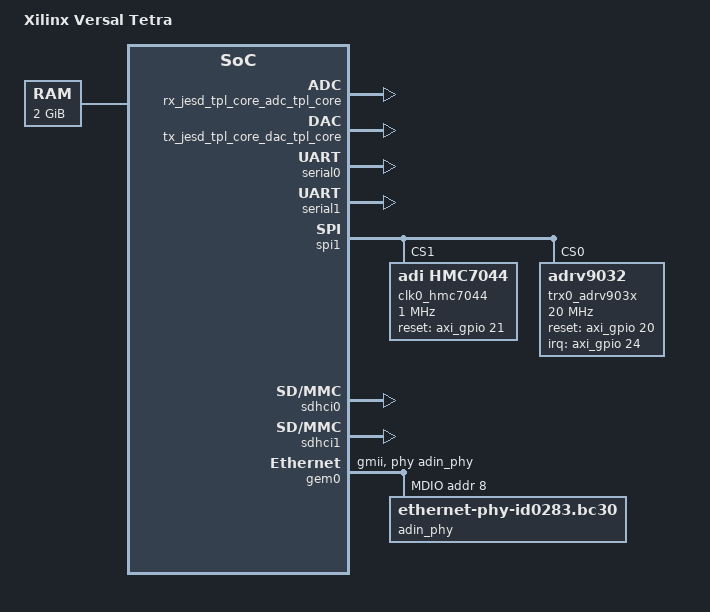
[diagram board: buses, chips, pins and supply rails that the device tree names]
// SPDX-License-Identifier: GPL-2.0
/*
 * dts file for Xilinx Versal Tetra
 *
 * (C) Copyright 2026, Analog Devices Inc.
 */

#include "versal.dtsi"
#include "versal-clk.dtsi"
#include <dt-bindings/interrupt-controller/irq.h>
#include <dt-bindings/iio/adc/adi,adrv903x.h>
#include <dt-bindings/iio/frequency/hmc7044.h>

/* RX path */
#define ADRV903X_RX_LANERATE_KHZ 16220160
#define ADRV903X_RX_LINK_CLK	245760000

/* TX path */
#define ADRV903X_TX_LANERATE_KHZ 16220160
#define ADRV903X_TX_LINK_CLK	245760000

#define ADRV903X_RX_DEVICE_CLK  245760000

/ {
	compatible = "xlnx,versal-tetra", "xlnx,versal";
	model = "Xilinx Versal Tetra";

	memory: memory@0 {
		device_type = "memory";
		reg = <0 0 0 0x80000000>;  /* 2GB */
	};

	chosen {
		bootargs = "console=ttyAMA1,115200 earlycon=pl011,mmio32,0xFF010000,115200n8 root=/dev/mmcblk0p2 rw rootfstype=ext4 rootwait";
		stdout-path = "serial1:115200";
	};

	aliases {
		serial0 = &serial0;
		serial1 = &serial1;
		spi1 = &spi1;
		mmc0 = &sdhci0;
		mmc1 = &sdhci1;
		ethernet0 = &gem0;
	};
};

&serial0 {
	status = "okay";
};

&serial1 {
	status = "okay";
};

&spi1 {
	is-decoded-cs = <0>;
	num-cs = <2>;
	status = "okay";
};

/* Enable SD card controllers */
&sdhci0 {
	status = "okay";
	xlnx,mio-bank = <0>;
	no-1-8-v;
};

&sdhci1 {
	status = "okay";
	xlnx,mio-bank = <1>;
	no-1-8-v;
};

/* PS GEM0 Ethernet — GMII to ADIN1320 PHY */
&gem0 {
	status = "okay";
	phy-mode = "gmii";
	phy-handle = <&adin_phy>;
	local-mac-address = [00 0a 35 7b 3e 11];

	mdio {
		#address-cells = <1>;
		#size-cells = <0>;

		adin_phy: ethernet-phy@8 {
			reg = <8>;
			compatible = "ethernet-phy-id0283.bc30";
		};
	};
};

&gem1 {
	status = "disabled";
};

&spi1 {
	status = "okay";

	clk0_hmc7044: hmc7044@1 {
		#address-cells = <1>;
		#size-cells = <0>;
		#clock-cells = <1>;
		compatible = "adi,hmc7044";
		reg = <1>;
		spi-max-frequency = <1000000>;

		jesd204-device;
		#jesd204-cells = <2>;
		jesd204-sysref-provider;

		adi,jesd204-max-sysref-frequency-hz = <2000000>; /* 2 MHz */

		adi,pll1-clkin-frequencies = <0 0 0 0>;
		adi,vcxo-frequency = <122880000>;

		adi,pll1-ref-prio-ctrl = <0xE4>; /* prefer CLKIN0 -> CLKIN1 -> CLKIN2 -> CLKIN3 */
		adi,pll1-ref-autorevert-enable;

		adi,pll1-loop-bandwidth-hz = <200>;
		adi,pfd1-maximum-limit-frequency-hz = <30720000>;
		adi,pll1-charge-pump-current-ua = <1920>;

		adi,pll2-output-frequency = <2949120000>;

		adi,sysref-timer-divider = <1024>;
		adi,pulse-generator-mode = <HMC7044_PULSE_GEN_8_PULSE>;

		adi,clkin0-buffer-mode  = <0x06>;
		adi,clkin1-buffer-mode  = <0x06>;
		adi,oscin-buffer-mode = <0x15>;

		adi,gpi-controls = <0x00 0x00 0x00 0x00>;
		adi,gpo-controls = <0x37 0x33 0x00 0x00>;

		clock-output-names =
		"hmc7044_out0", "hmc7044_out1", "hmc7044_out2",
		"hmc7044_out3", "hmc7044_out4", "hmc7044_out5",
		"hmc7044_out6", "hmc7044_out7", "hmc7044_out8",
		"hmc7044_out9", "hmc7044_out10", "hmc7044_out11",
		"hmc7044_out12", "hmc7044_out13";

		hmc7044_c0: channel@0 {
			reg = <0>;
			adi,extended-name = "DEV_CLK";
			adi,divider = <6>;
			adi,driver-mode = <HMC7044_DRIVER_MODE_LVDS>;
		};
		hmc7044_c1: channel@1 {
			reg = <1>;
			adi,extended-name = "DEV_SYSREF";
			adi,divider = <3072>;
			adi,driver-mode = <HMC7044_DRIVER_MODE_LVPECL>;
			adi,startup-mode-dynamic-enable;
			adi,high-performance-mode-disable;
			adi,jesd204-sysref-chan;
		};
		hmc7044_c6: channel@6 {
			reg = <6>;
			adi,extended-name = "FPGA_CORE_REFCLK";
			adi,divider = <12>;
			adi,driver-mode = <HMC7044_DRIVER_MODE_LVDS>;
		};
		hmc7044_c7: channel@7 {
			reg = <7>;
			adi,extended-name = "FPGA_CORE_SYSREF";
			adi,divider = <3072>;
			adi,driver-mode = <HMC7044_DRIVER_MODE_LVDS>;
		};
		hmc7044_c12: channel@12 {
			reg = <12>;
			adi,extended-name = "FPGA_REFCLK";
			adi,divider = <12>;
			adi,driver-mode = <HMC7044_DRIVER_MODE_LVDS>;
		};
	};

	trx0_adrv903x: adrv903x-phy@0 {
		compatible = "adrv9032";
		reg = <0>;

		#address-cells = <1>;
		#size-cells = <0>;

		/* SPI Setup */
		spi-max-frequency = <20000000>;

		interrupt-parent = <&axi_gpio>;
		interrupts = <24 IRQ_TYPE_EDGE_RISING>; /* adrv903x_gpint1 - CHECK */

		/* Clocks */
		clocks = <&clk0_hmc7044 0>;

		clock-names = "dev_clk";

		clock-output-names = "rx_sampl_clk", "tx_sampl_clk";
		#clock-cells = <1>;

		jesd204-device;
		#jesd204-cells = <2>;
		jesd204-top-device = <0>; /* This is the TOP device */
		jesd204-link-ids = <DEFRAMER0_LINK_TX FRAMER0_LINK_RX>;
		jesd204-ignore-errors;

		jesd204-inputs =
		 	<&axi_jesd_rx_rx_axi 0 FRAMER0_LINK_RX>,
			<&axi_jesd_tx_tx_axi 0 DEFRAMER0_LINK_TX>;

		adi,device-config-name = "ADRV9030_DeviceProfileTest_lanemap.bin";
		adi,arm-firmware-name = "ADRV9030_FW.bin";
		adi,stream-firmware-name = "ADRV9030_stream_image_lanemap.bin";
		adi,rx-gaintable-names = "ADRV9030_RxGainTable.csv";
		adi,rx-gaintable-channel-masks = <0x0F>;
		//adi,tx-attntable-names = "ADRV903X_TxAttenTable.csv";
		//adi,tx-attntable-channel-masks = <0x0F>;
	};
};

/* PL AXI bus */
/ {
	amba_pl: amba_pl {
		#address-cells = <2>;
		#size-cells = <2>;
		compatible = "simple-bus";
		ranges;

		axi_gpio: gpio@a4000000 {
			#gpio-cells = <2>;
			#interrupt-cells = <2>;
			clock-names = "s_axi_aclk";
			clocks = <&versal_clk 65>;
			compatible = "xlnx,axi-gpio-2.0", "xlnx,xps-gpio-1.00.a";
			gpio-controller ;
			interrupt-controller ;
			interrupt-names = "ip2intc_irpt";
			interrupt-parent = <&gic>;
			interrupts = <0 84 IRQ_TYPE_LEVEL_HIGH>;
			reg = <0x0 0xa4000000 0x0 0x1000>;
			xlnx,all-inputs = <0x0>;
			xlnx,all-inputs-2 = <0x0>;
			xlnx,all-outputs = <0x0>;
			xlnx,all-outputs-2 = <0x0>;
			xlnx,dout-default = <0x00000000>;
			xlnx,dout-default-2 = <0x00000000>;
			xlnx,gpio-width = <0x20>;
			xlnx,gpio2-width = <0x20>;
			xlnx,interrupt-present = <0x1>;
			xlnx,is-dual = <0x1>;
			xlnx,tri-default = <0xFFFFFFFF>;
			xlnx,tri-default-2 = <0xFFFFFFFF>;
		};

		axi_jesd_rx_dma: axi_dmac@bc420000 {
			compatible = "adi,axi-dmac-1.00.a";
			reg = <0x0 0xbc420000 0x0 0x1000>;
			#dma-cells = <1>;
			#clock-cells = <0>;
			interrupt-names = "irq";
			interrupt-parent = <&gic>;
			clocks = <&versal_clk PMC_PL1_REF>;
			interrupts = <0 97 IRQ_TYPE_LEVEL_HIGH>;

			adi,channels {
				#size-cells = <0>;
				#address-cells = <1>;

				dma-channel@0 {
					reg = <0>;
					adi,source-bus-type = <2>;
					adi,destination-bus-type = <0>;
				};
			};
		};

		axi_jesd_tx_dma: axi_dmac@bc430000 {
			compatible = "adi,axi-dmac-1.00.a";
			reg = <0x0 0xbc430000 0x0 0x1000>;
			#dma-cells = <1>;
			#clock-cells = <0>;
			clocks = <&versal_clk PMC_PL1_REF>;
			interrupt-names = "irq";
			interrupt-parent = <&gic>;
			interrupts = <0 96 IRQ_TYPE_LEVEL_HIGH>;

			adi,channels {
				#size-cells = <0>;
				#address-cells = <1>;

				dma-channel@0 {
					reg = <0>;
					adi,source-bus-type = <0>;
					adi,destination-bus-type = <1>;
				};
			};
		};

		axi_jesd_tx_tx_axi: axi_jesd204_tx@a4b90000 {
			compatible = "adi,axi-jesd204-tx-1.0";
			reg = <0x0 0xa4b90000 0x0 0x4000>;

			interrupt-names = "irq";
			interrupt-parent = <&gic>;
			interrupts = <0 94 IRQ_TYPE_LEVEL_HIGH>;

			clock-names = "s_axi_aclk", "device_clk", "link_clk", "lane_clk";
			clocks = <&versal_clk PMC_PL0_REF>, <&tx_fixed_link_clk>, <&tx_fixed_link_clk>, <&tx_fixed_lanerate>;

			#clock-cells = <0>;
			clock-output-names = "jesd_tx_lane_clk";

			jesd204-device;
			#jesd204-cells = <2>;
			jesd204-inputs = <&clk0_hmc7044 0 DEFRAMER0_LINK_TX>;

			reset-done-gpios = <&axi_gpio 33 0>;
			pll-datapath-reset-gpios = <&axi_gpio 37 0>;
			datapath-reset-gpios = <&axi_gpio 39 0>;
		};

		axi_jesd_rx_rx_axi: axi_jesd204_rx@a4a90000 {
			compatible = "adi,axi-jesd204-rx-1.0";
			reg = <0x0 0xa4a90000 0x0 0x4000>;

			interrupt-names = "irq";
			interrupt-parent = <&gic>;
			interrupts = <0 95 IRQ_TYPE_LEVEL_HIGH>;

			clock-names = "s_axi_aclk", "device_clk", "link_clk", "lane_clk";
			clocks = <&versal_clk PMC_PL0_REF>, <&rx_fixed_device_clk>, <&rx_fixed_link_clk>, <&rx_fixed_lanerate>;

			#clock-cells = <0>;
			clock-output-names = "jesd_rx_lane_clk";

			jesd204-device;
			#jesd204-cells = <2>;
			jesd204-inputs = <&clk0_hmc7044 0 FRAMER0_LINK_RX>;

			reset-done-gpios = <&axi_gpio 32 0>;
			pll-datapath-reset-gpios = <&axi_gpio 36 0>;
			datapath-reset-gpios = <&axi_gpio 38 0>;
		};

		axi_sysid_0: axi_sysid@a5000000 {
			compatible = "adi,axi-sysid-1.00.a";
			reg = <0x0 0xa5000000 0x0 0x10000>;
		};

		clocks {
			rx_fixed_lanerate: clock@0 {
				#clock-cells = <0>;
				compatible = "fixed-clock";
				clock-frequency = <ADRV903X_RX_LANERATE_KHZ>;
				clock-output-names = "rx_lane_clk";
			};

			tx_fixed_lanerate: clock@1 {
				#clock-cells = <0>;
				compatible = "fixed-clock";
				clock-frequency = <ADRV903X_TX_LANERATE_KHZ>;
				clock-output-names = "tx_lane_clk";
			};

			rx_fixed_link_clk: clock@2 {
				#clock-cells = <0>;
				compatible = "fixed-clock";
				clock-frequency = <ADRV903X_RX_LINK_CLK>;
				clock-output-names = "rx_link_clk";
			};

			tx_fixed_link_clk: clock@3 {
				#clock-cells = <0>;
				compatible = "fixed-clock";
				clock-frequency = <ADRV903X_TX_LINK_CLK>;
				clock-output-names = "tx_link_clk";
			};

			rx_fixed_device_clk: clock@4 {
				#clock-cells = <0>;
				compatible = "fixed-clock";
				clock-frequency = <ADRV903X_RX_DEVICE_CLK>;
				clock-output-names = "rx_device_clk";
			};
		};


		jesd_tx_data_offload_i_data_offload: data_offload@bc440000 {
			compatible = "adi,axi-data-offload-1.0.a";
			reg = <0x0 0xbc440000 0x0 0x10000>;
		};

		jesd_rx_data_offload_i_data_offload: data_offload@bc450000 {
			compatible = "adi,axi-data-offload-1.0.a";
			reg = <0x0 0xbc450000 0x0 0x10000>;
		};

		rx_jesd_tpl_core_adc_tpl_core: ad_ip_jesd204_tpl_adc@0xa4b10000 {
			compatible = "adi,axi-adc-legacy-10.0.a";
			reg = <0x0 0xa4b10000 0x0 0x6000>;
			
			dmas = <&axi_jesd_rx_dma 0>;
			dma-names = "rx";
			clocks = <&trx0_adrv903x 1>;
			spibus-connected = <&trx0_adrv903x>;
		};

		tx_jesd_tpl_core_dac_tpl_core: ad_ip_jesd204_tpl_dac@0xa4b14000 {
			compatible = "adi,axi-adrv903x-tx-1.0";
			reg = <0x0 0xa4b14000 0x0 0x2000>;
			
			dmas = <&axi_jesd_tx_dma 0>;
			dma-names = "tx";
			clocks = <&trx0_adrv903x 1>;
			clock-names = "sampl_clk";

			jesd204-device;
			#jesd204-cells = <2>;
			jesd204-inputs = <&axi_jesd_tx_tx_axi 0 DEFRAMER0_LINK_TX>;
		};
	};
};

&trx0_adrv903x {
	reset-gpios = <&axi_gpio 20 0>; // 52
};

&clk0_hmc7044 {
	reset-gpios = <&axi_gpio 21 0>; // 53
};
